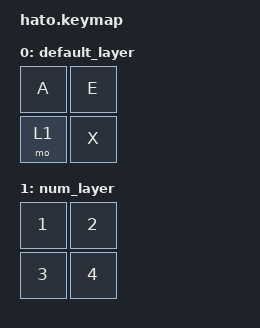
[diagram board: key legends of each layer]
#include <behaviors.dtsi>

/ {
    keymap {
        compatible = "zmk,keymap";

        default_layer {
                bindings = <
                    &kp A &kp E
                    &mo 1 &kp X
            >;
        };

        num_layer {
                bindings = <
                    &kp N1 &kp N2
                    &kp N3 &kp N4
            >;
        };
    };
};
